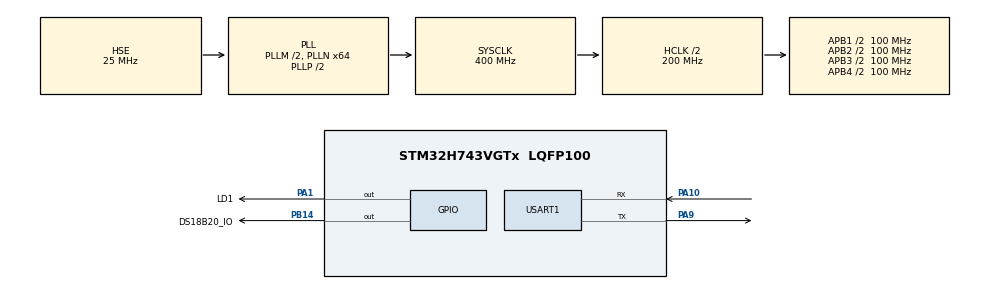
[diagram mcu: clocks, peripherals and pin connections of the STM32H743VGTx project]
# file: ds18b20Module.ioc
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Dma.Request0=USART1_TX
Dma.USART1_TX.0.Direction=DMA_MEMORY_TO_PERIPH
Dma.USART1_TX.0.EventEnable=DISABLE
Dma.USART1_TX.0.FIFOMode=DMA_FIFOMODE_DISABLE
Dma.USART1_TX.0.Instance=DMA1_Stream0
Dma.USART1_TX.0.MemDataAlignment=DMA_MDATAALIGN_BYTE
Dma.USART1_TX.0.MemInc=DMA_MINC_ENABLE
Dma.USART1_TX.0.Mode=DMA_NORMAL
Dma.USART1_TX.0.PeriphDataAlignment=DMA_PDATAALIGN_BYTE
Dma.USART1_TX.0.PeriphInc=DMA_PINC_DISABLE
Dma.USART1_TX.0.Polarity=HAL_DMAMUX_REQ_GEN_RISING
Dma.USART1_TX.0.Priority=DMA_PRIORITY_LOW
Dma.USART1_TX.0.RequestNumber=1
Dma.USART1_TX.0.SignalID=NONE
Dma.USART1_TX.0.SyncEnable=DISABLE
Dma.USART1_TX.0.SyncPolarity=HAL_DMAMUX_SYNC_NO_EVENT
Dma.USART1_TX.0.SyncRequestNumber=1
Dma.USART1_TX.0.SyncSignalID=NONE
FREERTOS.BinarySemaphores01=uartSendBinarySem,Dynamic,NULL
FREERTOS.Mutexes01=shellMutex,Dynamic,NULL
FREERTOS.Tasks01=initTask,0,128,osInitTask,Default,NULL,Dynamic,NULL,NULL;shellTask,-3,256,osShellTask,Default,NULL,Dynamic,NULL,NULL;ds18b20Task,1,128,osDs18b20Task,Default,NULL,Dynamic,NULL,NULL
FREERTOS.configENABLE_FPU=1
FREERTOS.configTOTAL_HEAP_SIZE=30720
FREERTOS.configUSE_RECURSIVE_MUTEXES=1
Mcu.Family=STM32H7
Mcu.Name=STM32H743VGTx
Mcu.Package=LQFP100
NVIC.DMA1_Stream0_IRQn=true\:5\:0\:false\:false\:true\:true\:false\:true\:true
NVIC.PriorityGroup=NVIC_PRIORITYGROUP_4
NVIC.TIM17_IRQn=true\:15\:0\:false\:false\:true\:false\:false\:true\:true
NVIC.TimeBase=TIM17_IRQn
NVIC.TimeBaseIP=TIM17
NVIC.USART1_IRQn=true\:5\:0\:false\:false\:true\:true\:true\:true\:true
PA1.GPIO_Label=LD1
PA1.GPIO_Speed=GPIO_SPEED_FREQ_VERY_HIGH
PA1.Signal=GPIO_Output
PA10.Mode=Asynchronous
PA10.Signal=USART1_RX
PA13\ (JTMS/SWDIO).Mode=Serial_Wire
PA13\ (JTMS/SWDIO).Signal=DEBUG_JTMS-SWDIO
PA14\ (JTCK/SWCLK).Mode=Serial_Wire
PA14\ (JTCK/SWCLK).Signal=DEBUG_JTCK-SWCLK
PA9.Mode=Asynchronous
PA9.Signal=USART1_TX
PB14.GPIO_Label=DS18B20_IO
PB14.GPIO_ModeDefaultOutputPP=GPIO_MODE_OUTPUT_PP
PB14.GPIO_PuPd=GPIO_PULLUP
PB14.GPIO_Speed=GPIO_SPEED_FREQ_VERY_HIGH
PB14.PinState=GPIO_PIN_SET
PB14.Signal=GPIO_Output
PH0-OSC_IN\ (PH0).Mode=HSE-External-Oscillator
PH0-OSC_IN\ (PH0).Signal=RCC_OSC_IN
PH1-OSC_OUT\ (PH1).Mode=HSE-External-Oscillator
PH1-OSC_OUT\ (PH1).Signal=RCC_OSC_OUT
ProjectManager.HeapSize=0x200
ProjectManager.StackSize=0x400
ProjectManager.TargetToolchain=MDK-ARM V5.32
RCC.ADCFreq_Value=50390625
RCC.APB1Freq_Value=100000000
RCC.APB2Freq_Value=100000000
RCC.APB3Freq_Value=100000000
RCC.APB4Freq_Value=100000000
RCC.CortexFreq_Value=400000000
RCC.D1PPRE=RCC_APB3_DIV2
RCC.D2PPRE1=RCC_APB1_DIV2
RCC.D2PPRE2=RCC_APB2_DIV2
RCC.D3PPRE=RCC_APB4_DIV2
RCC.DIVM1=2
RCC.DIVN1=64
RCC.HCLKFreq_Value=200000000
RCC.HPRE=RCC_HCLK_DIV2
RCC.PLLFRACN=0
RCC.PLLSourceVirtual=RCC_PLLSOURCE_HSE
RCC.PWR_Regulator_Voltage_Scale=PWR_REGULATOR_VOLTAGE_SCALE1
RCC.SYSCLKFreq_VALUE=400000000
RCC.SYSCLKSource=RCC_SYSCLKSOURCE_PLLCLK
RCC.USBFreq_Value=400000000
TIM7.Prescaler=200-1
USART1.VirtualMode-Asynchronous=VM_ASYNC
VP_CRC_VS_CRC.Mode=CRC_Activate
VP_FREERTOS_VS_CMSIS_V1.Mode=CMSIS_V1
VP_SYS_VS_tim17.Mode=TIM17
VP_TIM7_VS_ClockSourceINT.Mode=Enable_Timer
board=custom

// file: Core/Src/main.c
/* USER CODE BEGIN Header */
/**
  ******************************************************************************
  * @file           : main.c
  * @brief          : Main program body
  ******************************************************************************
  * @attention
  *
  * Copyright (c) 2023 STMicroelectronics.
  * All rights reserved.
  *
  * This software is licensed under terms that can be found in the LICENSE file
  * in the root directory of this software component.
  * If no LICENSE file comes with this software, it is provided AS-IS.
  *
  ******************************************************************************
  */
/* USER CODE END Header */
#include "main.h"
#include "cmsis_os.h"
#include "crc.h"
#include "dma.h"
#include "tim.h"
#include "usart.h"
#include "gpio.h"

/* USER CODE BEGIN Includes */
#include "stm32h7xx_hal_tim.h"
/* USER CODE END Includes */

void SystemClock_Config(void);
void MX_FREERTOS_Init(void);

int main(void)
{

  /* MCU Configuration--------------------------------------------------------*/

  /* Reset of all peripherals, Initializes the Flash interface and the Systick. */
  HAL_Init();

  /* Configure the system clock */
  SystemClock_Config();

  /* Initialize all configured peripherals */
  MX_GPIO_Init();
  MX_DMA_Init();
  MX_USART1_UART_Init();
  MX_CRC_Init();
  MX_TIM7_Init();

  /* Call init function for freertos objects (in freertos.c) */
  MX_FREERTOS_Init();

  /* Start scheduler */
  osKernelStart();

  /* We should never get here as control is now taken by the scheduler */
  /* Infinite loop */
  while (1)
  {

  }
}

void SystemClock_Config(void)
{
  RCC_OscInitTypeDef RCC_OscInitStruct = {0};
  RCC_ClkInitTypeDef RCC_ClkInitStruct = {0};

  /** Supply configuration update enable
  */
  HAL_PWREx_ConfigSupply(PWR_LDO_SUPPLY);

  /** Configure the main internal regulator output voltage
  */
  __HAL_PWR_VOLTAGESCALING_CONFIG(PWR_REGULATOR_VOLTAGE_SCALE1);

  while(!__HAL_PWR_GET_FLAG(PWR_FLAG_VOSRDY)) {}

  /** Initializes the RCC Oscillators according to the specified parameters
  * in the RCC_OscInitTypeDef structure.
  */
  RCC_OscInitStruct.OscillatorType = RCC_OSCILLATORTYPE_HSE;
  RCC_OscInitStruct.HSEState = RCC_HSE_ON;
  RCC_OscInitStruct.PLL.PLLState = RCC_PLL_ON;
  RCC_OscInitStruct.PLL.PLLSource = RCC_PLLSOURCE_HSE;
  RCC_OscInitStruct.PLL.PLLM = 2;
  RCC_OscInitStruct.PLL.PLLN = 64;
  RCC_OscInitStruct.PLL.PLLP = 2;
  RCC_OscInitStruct.PLL.PLLQ = 2;
  RCC_OscInitStruct.PLL.PLLR = 2;
  RCC_OscInitStruct.PLL.PLLRGE = RCC_PLL1VCIRANGE_3;
  RCC_OscInitStruct.PLL.PLLVCOSEL = RCC_PLL1VCOWIDE;
  RCC_OscInitStruct.PLL.PLLFRACN = 0;
  if (HAL_RCC_OscConfig(&RCC_OscInitStruct) != HAL_OK)
  {
    Error_Handler();
  }

  /** Initializes the CPU, AHB and APB buses clocks
  */
  RCC_ClkInitStruct.ClockType = RCC_CLOCKTYPE_HCLK|RCC_CLOCKTYPE_SYSCLK
                              |RCC_CLOCKTYPE_PCLK1|RCC_CLOCKTYPE_PCLK2
                              |RCC_CLOCKTYPE_D3PCLK1|RCC_CLOCKTYPE_D1PCLK1;
  RCC_ClkInitStruct.SYSCLKSource = RCC_SYSCLKSOURCE_PLLCLK;
  RCC_ClkInitStruct.SYSCLKDivider = RCC_SYSCLK_DIV1;
  RCC_ClkInitStruct.AHBCLKDivider = RCC_HCLK_DIV2;
  RCC_ClkInitStruct.APB3CLKDivider = RCC_APB3_DIV2;
  RCC_ClkInitStruct.APB1CLKDivider = RCC_APB1_DIV2;
  RCC_ClkInitStruct.APB2CLKDivider = RCC_APB2_DIV2;
  RCC_ClkInitStruct.APB4CLKDivider = RCC_APB4_DIV2;

  if (HAL_RCC_ClockConfig(&RCC_ClkInitStruct, FLASH_LATENCY_2) != HAL_OK)
  {
    Error_Handler();
  }
}

/* USER CODE BEGIN 4 */
void userUsDelay(int us)
{
	__HAL_TIM_SET_COUNTER(&htim7, 0);
	HAL_TIM_Base_Start(&htim7);
	while (__HAL_TIM_GET_COUNTER(&htim7) < us)
	{
	}
	HAL_TIM_Base_Stop(&htim7);
}
/* USER CODE END 4 */

void HAL_TIM_PeriodElapsedCallback(TIM_HandleTypeDef *htim)
{
  if (htim->Instance == TIM17) {
    HAL_IncTick();
  }
}

void Error_Handler(void)
{
  __disable_irq();
  while (1)
  {
  }
}

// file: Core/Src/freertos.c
/* USER CODE BEGIN Header */
/**
  ******************************************************************************
  * File Name          : freertos.c
  * Description        : Code for freertos applications
  ******************************************************************************
  * @attention
  *
  * Copyright (c) 2023 STMicroelectronics.
  * All rights reserved.
  *
  * This software is licensed under terms that can be found in the LICENSE file
  * in the root directory of this software component.
  * If no LICENSE file comes with this software, it is provided AS-IS.
  *
  ******************************************************************************
  */
/* USER CODE END Header */

#include "FreeRTOS.h"
#include "task.h"
#include "main.h"
#include "cmsis_os.h"

/* USER CODE BEGIN Includes */
#include "ds18b20.h"
/* USER CODE END Includes */

osThreadId initTaskHandle;
osThreadId shellTaskHandle;
osThreadId ds18b20TaskHandle;
osMutexId shellMutexHandle;
osSemaphoreId uartSendBinarySemHandle;

void osInitTask(void const * argument);
void osShellTask(void const * argument);
void osDs18b20Task(void const * argument);

void MX_FREERTOS_Init(void); /* (MISRA C 2004 rule 8.1) */

/* GetIdleTaskMemory prototype (linked to static allocation support) */
void vApplicationGetIdleTaskMemory( StaticTask_t **ppxIdleTaskTCBBuffer, StackType_t **ppxIdleTaskStackBuffer, uint32_t *pulIdleTaskStackSize );

/* USER CODE BEGIN GET_IDLE_TASK_MEMORY */
static StaticTask_t xIdleTaskTCBBuffer;
static StackType_t xIdleStack[configMINIMAL_STACK_SIZE];

void vApplicationGetIdleTaskMemory( StaticTask_t **ppxIdleTaskTCBBuffer, StackType_t **ppxIdleTaskStackBuffer, uint32_t *pulIdleTaskStackSize )
{
  *ppxIdleTaskTCBBuffer = &xIdleTaskTCBBuffer;
  *ppxIdleTaskStackBuffer = &xIdleStack[0];
  *pulIdleTaskStackSize = configMINIMAL_STACK_SIZE;
  /* place for user code */
}
/* USER CODE END GET_IDLE_TASK_MEMORY */

void MX_FREERTOS_Init(void) {
  /* Create the mutex(es) */
  /* definition and creation of shellMutex */
  osMutexDef(shellMutex);
  shellMutexHandle = osMutexCreate(osMutex(shellMutex));

  /* Create the semaphores(s) */
  /* definition and creation of uartSendBinarySem */
  osSemaphoreDef(uartSendBinarySem);
  uartSendBinarySemHandle = osSemaphoreCreate(osSemaphore(uartSendBinarySem), 1);

  /* Create the thread(s) */
  /* definition and creation of initTask */
  osThreadDef(initTask, osInitTask, osPriorityNormal, 0, 128);
  initTaskHandle = osThreadCreate(osThread(initTask), NULL);

  /* definition and creation of shellTask */
  osThreadDef(shellTask, osShellTask, osPriorityIdle, 0, 256);
  shellTaskHandle = osThreadCreate(osThread(shellTask), NULL);

  /* definition and creation of ds18b20Task */
  osThreadDef(ds18b20Task, osDs18b20Task, osPriorityAboveNormal, 0, 128);
  ds18b20TaskHandle = osThreadCreate(osThread(ds18b20Task), NULL);

}

void osInitTask(void const * argument)
{
  /* USER CODE BEGIN osInitTask */
  /* Infinite loop */

	userShellInit();
  for(;;)
  {
		HAL_GPIO_TogglePin(LD1_GPIO_Port,LD1_Pin);
    osDelay(1000);
  }
  /* USER CODE END osInitTask */
}

void osShellTask(void const * argument)
{
  /* USER CODE BEGIN osShellTask */
  /* Infinite loop */
  for(;;)
  {
    shellTask(&shell);
  }
  /* USER CODE END osShellTask */
}

void osDs18b20Task(void const * argument)
{
  /* USER CODE BEGIN osDs18b20Task */
  /* Infinite loop */
	while(ds18b20Init())
	{
		osDelay(5);
	}

	//uartLogWrite((char*)outBuff,16);
  for(;;)
  {
		ds18b20Task();
    osDelay(1000);
  }
  /* USER CODE END osDs18b20Task */
}
